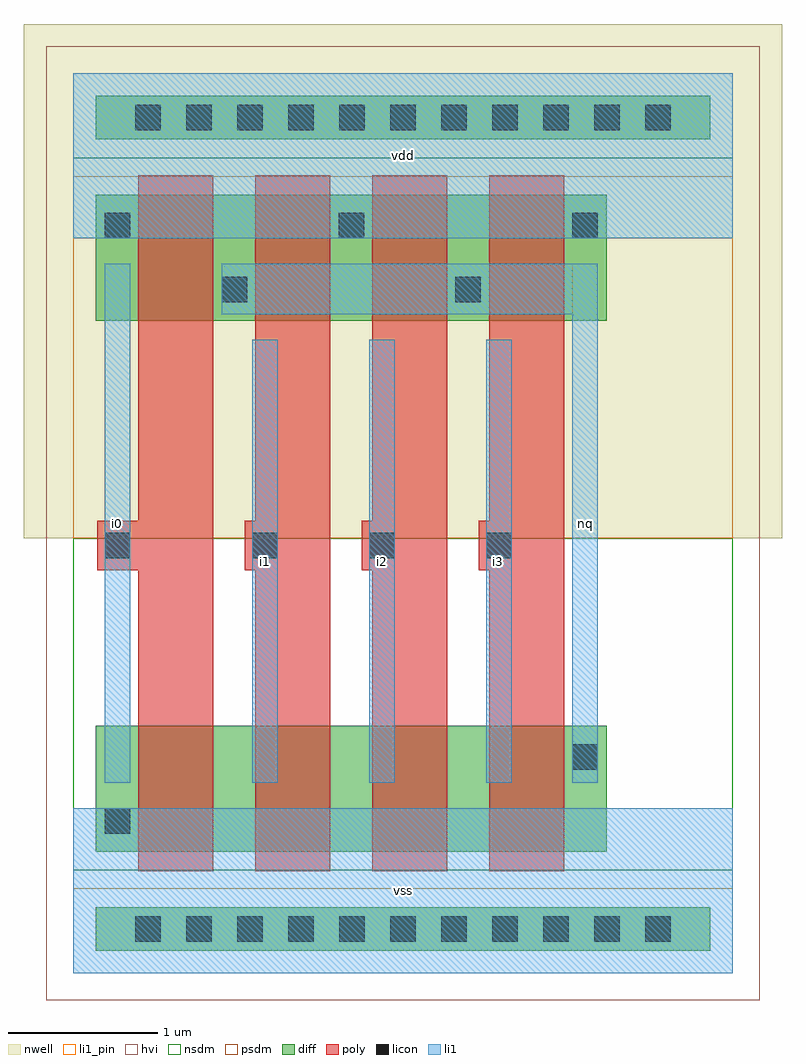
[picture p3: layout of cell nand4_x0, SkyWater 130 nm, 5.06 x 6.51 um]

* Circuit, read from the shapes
.subckt nand4_x0 i0 i1 i2 i3 nq vdd vss
XM1 n1 i0 vss VSUBS sky130_fd_pr__nfet_g5v0d10v5 w=0.84 l=0.5
XM2 n2 i1 n1 VSUBS sky130_fd_pr__nfet_g5v0d10v5 w=0.84 l=0.5
XM3 n3 i2 n2 VSUBS sky130_fd_pr__nfet_g5v0d10v5 w=0.84 l=0.5
XM4 nq i3 n3 VSUBS sky130_fd_pr__nfet_g5v0d10v5 w=0.84 l=0.5
XM5 nq i0 vdd n4 sky130_fd_pr__pfet_g5v0d10v5 w=0.84 l=0.5
XM6 vdd i1 nq n4 sky130_fd_pr__pfet_g5v0d10v5 w=0.84 l=0.5
XM7 nq i2 vdd n4 sky130_fd_pr__pfet_g5v0d10v5 w=0.84 l=0.5
XM8 vdd i3 nq n4 sky130_fd_pr__pfet_g5v0d10v5 w=0.84 l=0.5
.ends

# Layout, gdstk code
import gdstk
lib = gdstk.Library(unit=1e-6, precision=1e-09)
def R(c, l, rs):  # rectangles x0, y0, x1, y1
    for r in rs: c.add(gdstk.rectangle(r[:2], r[2:], *l))
def A(c, l, x, y, w, h, nx, ny, dx, dy):  # array of equal rectangles
    R(c, l, [(x+i*dx, y+j*dy, x+i*dx+w, y+j*dy+h) for i in range(nx) for j in range(ny)])
def P(c, l, *ps):  # polygons
    for p in ps: c.add(gdstk.Polygon(p, *l))
nwell = (64, 20)
diff = (65, 20)
poly = (66, 20)
licon = (66, 44)
li1_pin = (67, 16)
li1 = (67, 20)
hvi = (75, 20)
nsdm = (93, 44)
psdm = (94, 20)

nand4_x0 = lib.new_cell('nand4_x0')
R(nand4_x0, nwell, [(-0.33,2.9,4.73,6.33)])
R(nand4_x0, diff, [(0.15,0.15,4.25,0.44), (0.15,0.81,3.56,1.65), (0.15,4.35,3.56,5.19), (0.15,5.56,4.25,5.85)])
P(nand4_x0, poly, [(0.435,0.68),(0.435,2.685),(0.16,2.685),(0.16,3.015),(0.435,3.015),(0.435,5.32),(0.935,5.32),(0.935,0.68)],
  [(1.215,0.68),(1.215,2.685),(1.145,2.685),(1.145,3.015),(1.215,3.015),(1.215,5.32),(1.715,5.32),(1.715,0.68)],
  [(1.995,0.68),(1.995,2.685),(1.925,2.685),(1.925,3.015),(1.995,3.015),(1.995,5.32),(2.495,5.32),(2.495,0.68)],
  [(2.775,0.68),(2.775,2.685),(2.705,2.685),(2.705,3.015),(2.775,3.015),(2.775,5.32),(3.275,5.32),(3.275,0.68)])
A(nand4_x0, licon, 0.415, 0.21, 0.17, 0.17, 11, 2, 0.34, 5.41)
A(nand4_x0, licon, 1.195, 2.765, 0.17, 0.17, 3, 1, 0.78, 0)
A(nand4_x0, licon, 0.21, 4.9, 0.17, 0.17, 3, 1, 1.56, 0)
R(nand4_x0, licon, [(0.21,0.93,0.38,1.1), (3.33,1.355,3.5,1.525), (0.21,2.765,0.38,2.935), (0.99,4.475,1.16,4.645), (2.55,4.475,2.72,4.645)])
A(nand4_x0, li1_pin, 1.195, 1.27, 0.17, 2.955, 3, 1, 0.78, 0)
R(nand4_x0, li1_pin, [(0,0,4.4,1.1), (0.21,1.27,0.38,4.73), (3.33,1.27,3.5,4.73), (0,4.9,4.4,6)])
A(nand4_x0, li1, 1.195, 1.27, 0.17, 2.955, 3, 1, 0.78, 0)
R(nand4_x0, li1, [(0,0,4.4,1.1), (0.21,1.27,0.38,4.73), (0,4.9,4.4,6)])
P(nand4_x0, li1, [(3.33,1.27),(3.33,4.395),(0.99,4.395),(0.99,4.73),(3.5,4.73),(3.5,1.27)])
R(nand4_x0, hvi, [(-0.18,-0.18,4.58,6.18)])
R(nand4_x0, nsdm, [(0,0.685,4.4,2.9), (0,5.435,4.4,6)])
R(nand4_x0, psdm, [(0,0,4.4,0.565), (0,2.9,4.4,5.315)])
nand4_x0.add(gdstk.Label('vss', (2.2,0.55), layer=67, texttype=16))
nand4_x0.add(gdstk.Label('vdd', (2.2,5.45), layer=67, texttype=16))
nand4_x0.add(gdstk.Label('i0', (0.295,3), layer=67, texttype=16))
nand4_x0.add(gdstk.Label('nq', (3.415,3), layer=67, texttype=16))
nand4_x0.add(gdstk.Label('i1', (1.28,2.748), layer=67, texttype=16))
nand4_x0.add(gdstk.Label('i2', (2.06,2.748), layer=67, texttype=16))
nand4_x0.add(gdstk.Label('i3', (2.84,2.748), layer=67, texttype=16))

lib.write_gds('nand4_x0.gds')
